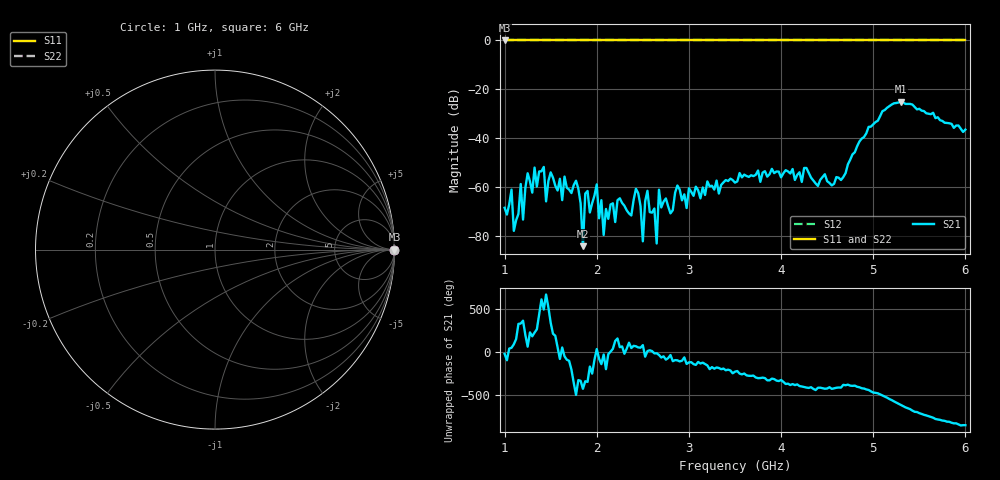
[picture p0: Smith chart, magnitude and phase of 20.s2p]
!Keysight Technologies N9926A: A.08.19
!Date: Sunday, 01 March 2026 13:30:22
!Timezone: (GMT-06:00) Central Time (US & Canada)
!Model: N9926A
!Serial: MY53102721
!GPS Latitude:
!GPS Longitude:
!GPS TimeStamp: 0001-01-01 00:00:00Z
!GPS Seconds Since Last Read: 0
!CHECKSUM:1868672613
!Correction: S11()S21(ON U)S12()S22()
!S2P File: Measurements:S11,S21,S12,S22:
# Hz S DB R 50
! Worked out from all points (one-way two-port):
!   201 points, 1 GHz to 6 GHz, reference 50 ohm
!   highest |S21| = -25.14 dB at 5.3 GHz (marker M1); lowest = -84.3 dB at 1.85 GHz (marker M2)
!   lowest |S11| = 0.0 dB at 1 GHz (marker M3)
!   |S11| at or under -10 dB: nowhere
!   |S22| runs from 0.0 to 0.0 dB; largest |S21 - S12| = 1
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1e9  0.00 0.0  -68.58 -21.0  0.00 0.0  0.00 0.0
1.075e9  0.00 0.0  -61.13 49.4  0.00 0.0  0.00 0.0
1.1e9  0.00 0.0  -78.04 89.9  0.00 0.0  0.00 0.0
1.175e9  0.00 0.0  -58.84 -29.3  0.00 0.0  0.00 0.0
1.2e9  0.00 0.0  -73.41 3.4  0.00 0.0  0.00 0.0
1.25e9  0.00 0.0  -54.44 62.7  0.00 0.0  0.00 0.0
1.425e9  0.00 0.0  -51.83 132.5  0.00 0.0  0.00 0.0
1.45e9  0.00 0.0  -65.95 -54.1  0.00 0.0  0.00 0.0
1.775e9  0.00 0.0  -57.50 -135.4  0.00 0.0  0.00 0.0
1.85e9  0.00 0.0  -84.31 -65.5  0.00 0.0  0.00 0.0
1.875e9  0.00 0.0  -62.77 22.4  0.00 0.0  0.00 0.0
2e9  0.00 0.0  -58.99 34.8  0.00 0.0  0.00 0.0
2.075e9  0.00 0.0  -79.72 -28.2  0.00 0.0  0.00 0.0
2.425e9  0.00 0.0  -60.78 66.9  0.00 0.0  0.00 0.0
2.5e9  0.00 0.0  -82.32 80.0  0.00 0.0  0.00 0.0
2.65e9  0.00 0.0  -83.20 -13.8  0.00 0.0  0.00 0.0
2.675e9  0.00 0.0  -61.16 -33.4  0.00 0.0  0.00 0.0
3.5e9  0.00 0.0  -58.27 132.8  0.00 0.0  0.00 0.0
4.35e9  0.00 0.0  -57.39 -66.0  0.00 0.0  0.00 0.0
5.175e9  0.00 0.0  -26.92 176.6  0.00 0.0  0.00 0.0
5.3e9  0.00 0.0  -25.14 107.3  0.00 0.0  0.00 0.0
6e9  0.00 0.0  -36.54 -126.4  0.00 0.0  0.00 0.0
